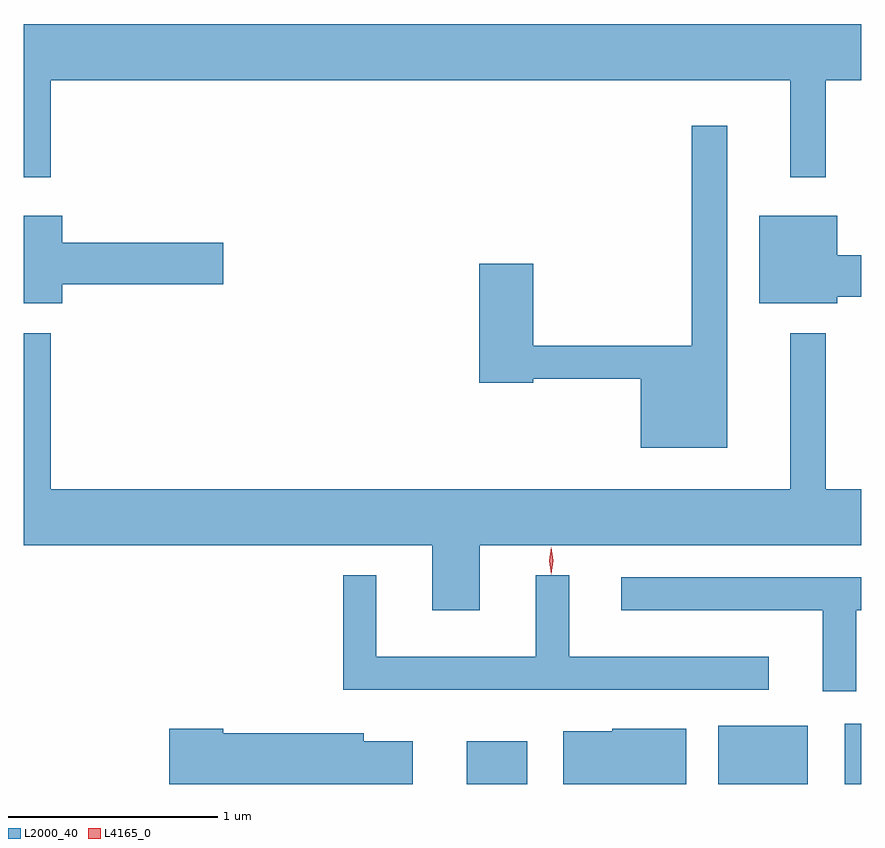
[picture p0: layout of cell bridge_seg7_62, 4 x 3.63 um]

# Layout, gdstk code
import gdstk
lib = gdstk.Library(unit=1e-6, precision=1e-09)
def R(c, l, rs):  # rectangles x0, y0, x1, y1
    for r in rs: c.add(gdstk.rectangle(r[:2], r[2:], *l))
def P(c, l, *ps):  # polygons
    for p in ps: c.add(gdstk.Polygon(p, *l))
L2000_40 = (2000, 40)
L4165_0 = (4165, 0)

bridge_seg7_62 = lib.new_cell('bridge_seg7_62')
R(bridge_seg7_62, L2000_40, [(1561.266,1748.696,1561.554,1748.899), (1562.466,1748.696,1562.894,1748.974), (1563.071,1748.696,1563.15,1748.984)])
P(bridge_seg7_62, L2000_40, [(1559.279,1752.056),(1562.811,1752.056),(1562.811,1751.593),(1562.979,1751.593),(1562.979,1752.056),(1563.15,1752.056),(1563.15,1752.324),(1559.15,1752.324),(1559.15,1751.593),(1559.279,1751.593)],
  [(1562.509,1751.838),(1562.341,1751.838),(1562.341,1750.789),(1561.584,1750.789),(1561.584,1751.179),(1561.326,1751.179),(1561.326,1750.611),(1561.584,1750.611),(1561.584,1750.631),(1562.096,1750.631),(1562.096,1750.301),(1562.509,1750.301)],
  [(1563.034,1751.021),(1563.15,1751.021),(1563.15,1751.219),(1563.034,1751.219),(1563.034,1751.409),(1562.661,1751.409),(1562.661,1750.991),(1563.034,1750.991)],
  [(1559.334,1751.081),(1560.104,1751.081),(1560.104,1751.279),(1559.334,1751.279),(1559.334,1751.409),(1559.15,1751.409),(1559.15,1750.991),(1559.334,1750.991)],
  [(1561.329,1749.836),(1563.15,1749.836),(1563.15,1750.104),(1562.979,1750.104),(1562.979,1750.848),(1562.811,1750.848),(1562.811,1750.104),(1559.279,1750.104),(1559.279,1750.848),(1559.15,1750.848),(1559.15,1749.836),(1561.101,1749.836),(1561.101,1749.526),(1561.329,1749.526)],
  [(1562.708,1749.304),(1561.754,1749.304),(1561.754,1749.693),(1561.596,1749.693),(1561.596,1749.304),(1560.834,1749.304),(1560.834,1749.693),(1560.676,1749.693),(1560.676,1749.146),(1562.708,1749.146)],
  [(1563.124,1749.526),(1563.15,1749.526),(1563.15,1749.684),(1562.003,1749.684),(1562.003,1749.526),(1562.966,1749.526),(1562.966,1749.138),(1563.124,1749.138)],
  [(1562.314,1748.959),(1561.96,1748.959),(1561.96,1748.949),(1561.726,1748.949),(1561.726,1748.696),(1562.314,1748.696)],
  [(1561.009,1748.899),(1560.774,1748.899),(1560.774,1748.939),(1560.104,1748.939),(1560.104,1748.959),(1559.846,1748.959),(1559.846,1748.696),(1561.009,1748.696)])
P(bridge_seg7_62, L4165_0, [(1561.669,1749.698),(1561.669,1749.698),(1561.659,1749.762),(1561.668,1749.827),(1561.669,1749.827),(1561.669,1749.827),(1561.679,1749.762),(1561.67,1749.698)])

lib.write_gds('bridge_seg7_62.gds')
